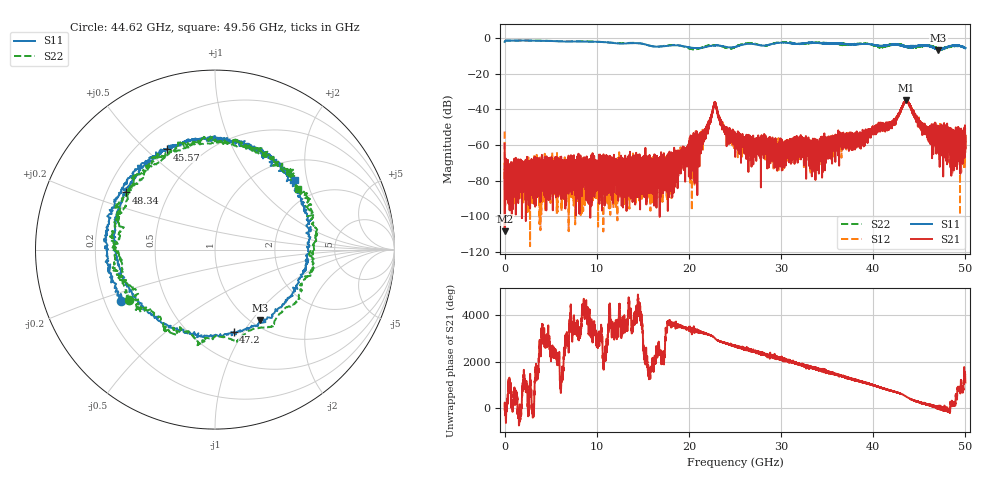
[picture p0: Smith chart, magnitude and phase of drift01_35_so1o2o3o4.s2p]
!Created with skrf (http://scikit-rf.org).
# Hz S RI R 50.0
!freq ReS11 ImS11 ReS21 ImS21 ReS12 ImS12 ReS22 ImS22
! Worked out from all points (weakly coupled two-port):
!   10001 points, 300 kHz to 50 GHz, reference 50 ohm
!   highest |S21| = -34.76 dB at 43.61 GHz (marker M1); lowest = -108.4 dB at 15.3 MHz (marker M2)
!   lowest |S11| = -6.6 dB at 47.07 GHz (marker M3), VSWR 2.75, Z = 54.5 - j54.9 ohm
!   |S11| at or under -10 dB: nowhere
!   |S22| runs from -6.5 to -1.4 dB; largest |S21 - S12| = 0.0042
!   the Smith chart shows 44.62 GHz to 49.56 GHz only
!   S11 on the Smith chart (normalised r, x): 44.62 GHz: 0.27, -0.24; 45.57 GHz: 0.32, +0.58; 47.2 GHz: 0.77, -0.90; 48.34 GHz: 0.28, +0.27; 49.56 GHz: 1.42, +1.70
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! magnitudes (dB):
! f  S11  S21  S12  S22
! 300 kHz  -2.2  -59.3  -52.5  -2.1
! 15.3 MHz  -2.0  -108.4  -74.8  -2.0
! 280.3 MHz  -1.4  -78.9  -74.2  -1.4
! 8.335 GHz  -1.9  -78.8  -73.2  -1.8
! 16.67 GHz  -4.8  -77.6  -75.2  -4.8
! 21.12 GHz  -5.6  -62.2  -63.9  -5.9
! 22.79 GHz  -4.3  -36.0  -36.2  -4.0
! 23.84 GHz  -4.7  -51.7  -51.3  -5.2
! 25 GHz  -5.0  -57.7  -53.7  -5.1
! 29.62 GHz  -2.8  -65.6  -61.6  -2.5
! 31.85 GHz  -3.3  -60.4  -57.8  -3.3
! 33.34 GHz  -2.6  -63.2  -62.2  -2.6
! 38.45 GHz  -3.4  -56.2  -55.6  -3.2
! 41.67 GHz  -3.9  -49.5  -47.8  -4.2
! 43.61 GHz  -4.7  -34.8  -35.0  -4.8
! 44.62 GHz  -4.5  -43.9  -44.3  -5.1
! 45.57 GHz  -4.2  -50.8  -51.2  -4.1
! 47.07 GHz  -6.6  -52.5  -53.0  -5.5
! 47.2 GHz  -6.6  -56.4  -55.0  -6.0
! 48.34 GHz  -4.6  -59.8  -54.2  -5.0
! 49.56 GHz  -4.5  -52.9  -54.1  -4.9
! 50 GHz  -5.6  -58.0  -60.2  -5.4
